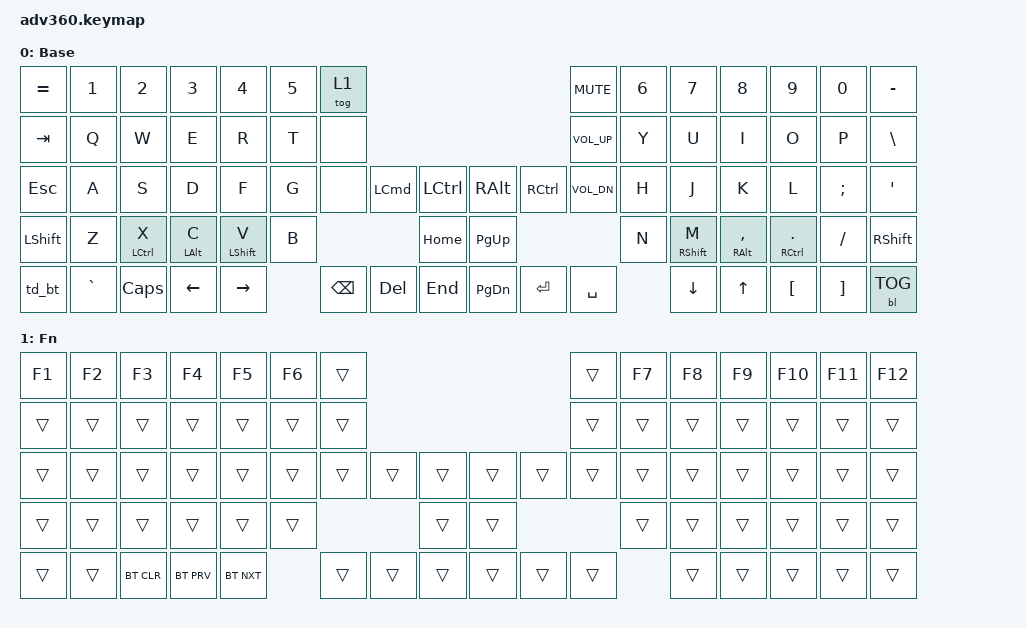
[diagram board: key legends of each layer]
#include <dt-bindings/zmk/stp.h>
#include <behaviors.dtsi>
#include <dt-bindings/zmk/backlight.h>
#include <dt-bindings/zmk/bt.h>
#include <dt-bindings/zmk/keys.h>

/ {
    behaviors {
        #include "macros.dtsi"
      #include "version.dtsi"

        hm: homerow_mods {
            compatible = "zmk,behavior-hold-tap";
            label = "HOMEROW_MODS";
            #binding-cells = <2>;
            tapping-term-ms = <200>;
            quick_tap_ms = <175>;
            flavor = "tap-preferred";
            bindings = <&kp>, <&kp>;
        };

        td_bt: tap_dance_bt {
            compatible = "zmk,behavior-tap-dance";
            #binding-cells = <0>;
            tapping-term-ms = <500>;
            bindings = <&bt BT_SEL 0>, <&bt BT_SEL 1>;
        };
    };

    keymap {
        compatible = "zmk,keymap";

        default_layer {
            display-name = "Base";
            bindings = <
&kp EQUAL  &kp N1     &kp N2        &kp N3      &kp N4       &kp N5  &tog 1                                                     &kp C_MUTE    &kp N6  &kp N7       &kp N8          &kp N9            &kp N0    &kp MINUS
&kp TAB    &kp Q      &kp W         &kp E       &kp R        &kp T   &none                                                      &kp C_VOL_UP  &kp Y   &kp U        &kp I           &kp O             &kp P     &kp BSLH
&kp ESC    &kp A      &kp S         &kp D       &kp F        &kp G   &none     &kp LCMD    &kp LCTRL      &kp RALT   &kp RCTRL  &kp C_VOL_DN  &kp H   &kp J        &kp K           &kp L             &kp SEMI  &kp SQT
&kp LSHFT  &kp Z      &hm LCTRL X   &hm LALT C  &hm LSHFT V  &kp B                         &kp HOME       &kp PG_UP                           &kp N   &hm RSHFT M  &hm RALT COMMA  &hm RCTRL PERIOD  &kp FSLH  &kp RSHFT
&td_bt     &kp GRAVE  &kp CAPSLOCK  &kp LEFT    &kp RIGHT            &kp BSPC  &kp DELETE  &kp END        &kp PG_DN  &kp ENTER  &kp SPACE             &kp DOWN     &kp UP          &kp LBKT          &kp RBKT  &bl BL_TOG
            >;
        };

        fn {
            display-name = "Fn";
            bindings = <
&kp F1  &kp F2  &kp F3      &kp F4      &kp F5      &kp F6  &trans                                      &trans  &kp F7  &kp F8  &kp F9  &kp F10  &kp F11  &kp F12
&trans  &trans  &trans      &trans      &trans      &trans  &trans                                      &trans  &trans  &trans  &trans  &trans   &trans   &trans
&trans  &trans  &trans      &trans      &trans      &trans  &trans  &trans  &trans      &trans  &trans  &trans  &trans  &trans  &trans  &trans   &trans   &trans
&trans  &trans  &trans      &trans      &trans      &trans                  &trans      &trans                  &trans  &trans  &trans  &trans   &trans   &trans
&trans  &trans  &bt BT_CLR  &bt BT_PRV  &bt BT_NXT          &trans  &trans  &trans      &trans  &trans  &trans          &trans  &trans  &trans   &trans   &trans
            >;
        };

        extra1 {
            display-name = "Red";
            status = "reserved";
        };

        extra2 {
            display-name = "Purple";
            status = "reserved";
        };

        extra3 {
            display-name = "Cyan";
            status = "reserved";
        };

        extra4 {
            display-name = "Yellow";
            status = "reserved";
        };
    };
};
